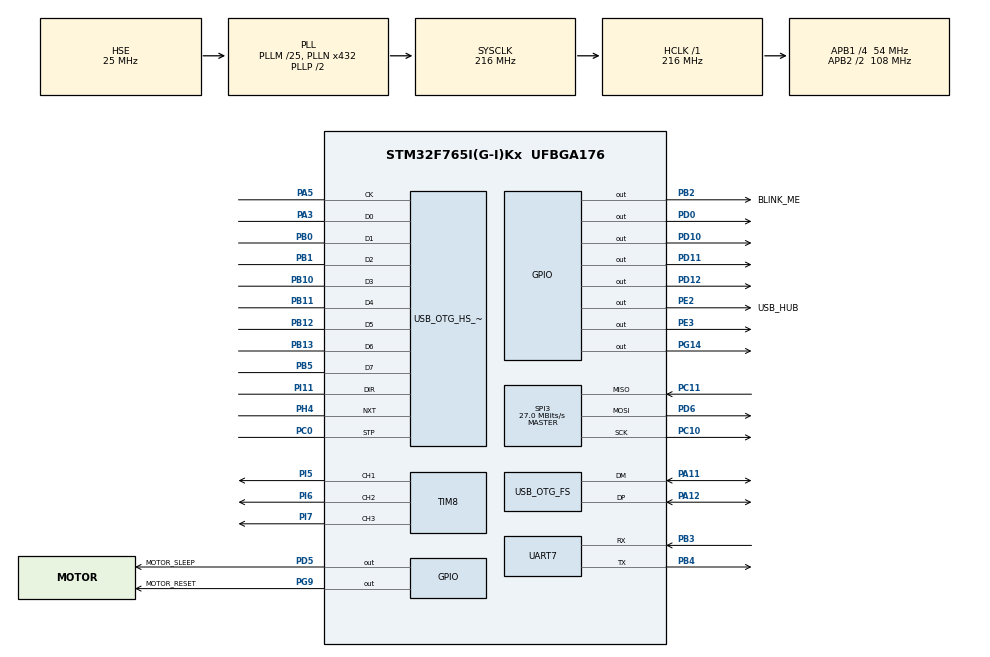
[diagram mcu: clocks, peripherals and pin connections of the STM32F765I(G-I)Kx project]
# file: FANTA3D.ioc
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CORTEX_M7.default_mode_Activation=1
Mcu.Family=STM32F7
Mcu.Name=STM32F765I(G-I)Kx
Mcu.Package=UFBGA176
NVIC.OTG_FS_IRQn=true\:0\:0\:false\:false\:true\:false\:true\:true
NVIC.PriorityGroup=NVIC_PRIORITYGROUP_4
PA11.Mode=Device_Only
PA11.Signal=USB_OTG_FS_DM
PA12.Mode=Device_Only
PA12.Signal=USB_OTG_FS_DP
PA3.Mode=OTG/Dual-Role-Device-HS
PA3.Signal=USB_OTG_HS_ULPI_D0
PA5.Mode=OTG/Dual-Role-Device-HS
PA5.Signal=USB_OTG_HS_ULPI_CK
PB0.Mode=OTG/Dual-Role-Device-HS
PB0.Signal=USB_OTG_HS_ULPI_D1
PB1.Mode=OTG/Dual-Role-Device-HS
PB1.Signal=USB_OTG_HS_ULPI_D2
PB10.Mode=OTG/Dual-Role-Device-HS
PB10.Signal=USB_OTG_HS_ULPI_D3
PB11.Mode=OTG/Dual-Role-Device-HS
PB11.Signal=USB_OTG_HS_ULPI_D4
PB12.Mode=OTG/Dual-Role-Device-HS
PB12.Signal=USB_OTG_HS_ULPI_D5
PB13.Mode=OTG/Dual-Role-Device-HS
PB13.Signal=USB_OTG_HS_ULPI_D6
PB2.GPIO_Label=BLINK_ME
PB2.Signal=GPIO_Output
PB3.Mode=Asynchronous
PB3.Signal=UART7_RX
PB4.Mode=Asynchronous
PB4.Signal=UART7_TX
PB5.Mode=OTG/Dual-Role-Device-HS
PB5.Signal=USB_OTG_HS_ULPI_D7
PC0.Mode=OTG/Dual-Role-Device-HS
PC0.Signal=USB_OTG_HS_ULPI_STP
PC10.Mode=Full_Duplex_Master
PC10.Signal=SPI3_SCK
PC11.GPIO_PuPd=GPIO_PULLUP
PC11.Mode=Full_Duplex_Master
PC11.Signal=SPI3_MISO
PD0.Signal=GPIO_Output
PD10.Signal=GPIO_Output
PD11.Signal=GPIO_Output
PD12.Signal=GPIO_Output
PD5.GPIO_Label=MOTOR_SLEEP
PD5.Signal=GPIO_Output
PD6.Mode=Full_Duplex_Master
PD6.Signal=SPI3_MOSI
PE2.GPIO_Label=USB_HUB
PE2.Signal=GPIO_Output
PE3.Signal=GPIO_Output
PG14.Signal=GPIO_Output
PG9.GPIO_Label=MOTOR_RESET
PG9.Signal=GPIO_Output
PH0/OSC_IN.Mode=HSE-External-Oscillator
PH0/OSC_IN.Signal=RCC_OSC_IN
PH1/OSC_OUT.Mode=HSE-External-Oscillator
PH1/OSC_OUT.Signal=RCC_OSC_OUT
PH4.Mode=OTG/Dual-Role-Device-HS
PH4.Signal=USB_OTG_HS_ULPI_NXT
PI11.Mode=OTG/Dual-Role-Device-HS
PI11.Signal=USB_OTG_HS_ULPI_DIR
PI5.Signal=S_TIM8_CH1
PI6.Signal=S_TIM8_CH2
PI7.Signal=S_TIM8_CH3
ProjectManager.HeapSize=0x600
ProjectManager.StackSize=0x400
ProjectManager.TargetToolchain=Makefile
RCC.AHBFreq_Value=216000000
RCC.APB1CLKDivider=RCC_HCLK_DIV4
RCC.APB1Freq_Value=54000000
RCC.APB1TimFreq_Value=108000000
RCC.APB2CLKDivider=RCC_HCLK_DIV2
RCC.APB2Freq_Value=108000000
RCC.APB2TimFreq_Value=216000000
RCC.CortexFreq_Value=216000000
RCC.HCLKFreq_Value=216000000
RCC.HSE_VALUE=25000000
RCC.HSI_VALUE=16000000
RCC.LSE_VALUE=32768
RCC.PLLM=25
RCC.PLLN=432
RCC.PLLQ=9
RCC.SYSCLKFreq_VALUE=216000000
RCC.SYSCLKSource=RCC_SYSCLKSOURCE_PLLCLK
RCC.USBFreq_Value=48000000
RCC.VCOOutputFreq_Value=432000000
SH.S_TIM8_CH1.0=TIM8_CH1,PWM Generation1 CH1
SH.S_TIM8_CH2.0=TIM8_CH2,PWM Generation2 CH2
SH.S_TIM8_CH3.0=TIM8_CH3,PWM Generation3 CH3
SPI3.CLKPhase=SPI_PHASE_2EDGE
SPI3.CalculateBaudRate=27.0 MBits/s
SPI3.DataSize=SPI_DATASIZE_16BIT
SPI3.Direction=SPI_DIRECTION_2LINES
SPI3.Mode=SPI_MODE_MASTER
SPI3.VirtualType=VM_MASTER
TIM8.AutoReloadPreload=TIM_AUTORELOAD_PRELOAD_ENABLE
TIM8.Channel-PWM\ Generation1\ CH1=TIM_CHANNEL_1
TIM8.Channel-PWM\ Generation2\ CH2=TIM_CHANNEL_2
TIM8.Channel-PWM\ Generation3\ CH3=TIM_CHANNEL_3
TIM8.Pulse-PWM\ Generation1\ CH1=65000
TIM8.Pulse-PWM\ Generation2\ CH2=65000
TIM8.Pulse-PWM\ Generation3\ CH3=65000
USB_DEVICE.CLASS_NAME_FS=CDC
USB_DEVICE.MANUFACTURER_STRING-CDC_FS=Migaud Corp
USB_DEVICE.PRODUCT_STRING_CDC_FS=FANTA 3D
USB_DEVICE.VirtualMode-CDC_FS=Cdc
USB_DEVICE.VirtualModeFS=Cdc_FS
USB_OTG_FS.VirtualMode=Device_Only
VP_USB_DEVICE_VS_USB_DEVICE_CDC_FS.Mode=CDC_FS
board=custom

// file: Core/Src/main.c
/* USER CODE BEGIN Header */
/**
  ******************************************************************************
  * @file           : main.c
  * @brief          : Main program body
  ******************************************************************************
  * @attention
  *
  * Copyright (c) 2022 STMicroelectronics.
  * All rights reserved.
  *
  * This software is licensed under terms that can be found in the LICENSE file
  * in the root directory of this software component.
  * If no LICENSE file comes with this software, it is provided AS-IS.
  *
  ******************************************************************************
  */
/* USER CODE END Header */
#include "main.h"
#include "usb_device.h"

/* USER CODE BEGIN Includes */
#include "usbd_cdc_if.h"

/* USER CODE END Includes */

/* USER CODE BEGIN PTD */
#define __AS5048A2_CS_ENABLE() HAL_GPIO_WritePin(GPIOD, GPIO_PIN_0, GPIO_PIN_RESET)
#define __AS5048A2_CS_DISABLE() HAL_GPIO_WritePin(GPIOD, GPIO_PIN_0, GPIO_PIN_SET)

#define __Read_NOP 0xc000
#define __Read_Clear_Error_Flag 0x4001
#define __Read_Angle 0xffff
/* USER CODE END PTD */

SPI_HandleTypeDef hspi3;

TIM_HandleTypeDef htim8;

UART_HandleTypeDef huart7;

void SystemClock_Config(void);
static void MPU_Config(void);
static void MX_GPIO_Init(void);
static void MX_TIM8_Init(void);
static void MX_UART7_Init(void);
static void MX_USB_OTG_HS_USB_Init(void);
static void MX_SPI3_Init(void);
/* USER CODE BEGIN PFP */

#define __Read_NOP 0xc000
#define __Read_Clear_Error_Flag 0x4001
#define __Read_Angle 0xffff

  uint16_t SPI_TX_DATA[10]={0};
uint16_t SPI_RX_DATA[10]={0};

const uint8_t op_num = 4;
uint16_t origin_value = 0;
uint8_t i;

uint8_t TXD[4]={0};
uint16_t post_process_value=0;

/* USER CODE END PFP */

int main(void)
{

  /* MPU Configuration--------------------------------------------------------*/
  MPU_Config();

  /* MCU Configuration--------------------------------------------------------*/

  /* Reset of all peripherals, Initializes the Flash interface and the Systick. */
  HAL_Init();

  /* Configure the system clock */
  SystemClock_Config();

  /* Initialize all configured peripherals */
  MX_GPIO_Init();
  MX_TIM8_Init();
  MX_UART7_Init();
  MX_USB_OTG_HS_USB_Init();
  MX_USB_DEVICE_Init();
  MX_SPI3_Init();
  /* USER CODE BEGIN 2 */

  HAL_TIM_Base_Start_IT(&htim8);

  HAL_TIM_PWM_Start(&htim8,TIM_CHANNEL_1);
  HAL_TIM_PWM_Start(&htim8,TIM_CHANNEL_2);
  HAL_TIM_PWM_Start(&htim8,TIM_CHANNEL_3);

  __HAL_TIM_SET_COMPARE(&htim8,TIM_CHANNEL_1,35000);
  __HAL_TIM_SET_COMPARE(&htim8,TIM_CHANNEL_2,35000);
  __HAL_TIM_SET_COMPARE(&htim8,TIM_CHANNEL_3,35000);

  HAL_GPIO_WritePin(GPIOD, GPIO_PIN_10, GPIO_PIN_RESET);
  HAL_GPIO_WritePin(GPIOD, GPIO_PIN_11, GPIO_PIN_RESET);
  HAL_GPIO_WritePin(GPIOD, GPIO_PIN_12, GPIO_PIN_RESET);

  HAL_GPIO_WritePin(GPIOG, GPIO_PIN_9, GPIO_PIN_SET);//motor reset
  HAL_GPIO_WritePin(GPIOD, GPIO_PIN_5, GPIO_PIN_SET);//motor reset
  HAL_Delay (10);

  HAL_GPIO_WritePin(GPIOE, GPIO_PIN_2, GPIO_PIN_SET);//hub reset
  HAL_GPIO_WritePin(GPIOE, GPIO_PIN_3, GPIO_PIN_SET);//hub reset
  HAL_GPIO_WritePin(GPIOG, GPIO_PIN_14, GPIO_PIN_RESET);//switch select

  HAL_GPIO_WritePin(GPIOD, GPIO_PIN_0, GPIO_PIN_SET);//CS encoder

  HAL_Delay (1000);

  HAL_UART_Transmit(&huart7, (uint8_t *) "hello", sizeof("hello"), 100);

  uint8_t buffer[] = "Hello, World!\r\n";
  CDC_Transmit_FS(buffer, sizeof(buffer));
  HAL_Delay(1000);

  uint16_t SPI_TX_DATA[10]={0};
  uint16_t SPI_RX_DATA[10]={0};

  const uint8_t op_num = 4;
  uint16_t origin_value = 0;
  uint8_t i;

  uint8_t TXD[4]={0};
  uint16_t post_process_value=0;

  TXD[0]=0x55; TXD[1]=0xaa;//frame head

		  SPI_TX_DATA[0] =  __Read_Clear_Error_Flag;
		  SPI_TX_DATA[1] =  __Read_NOP;
		  SPI_TX_DATA[2] =  __Read_Angle;
		  SPI_TX_DATA[3] =  __Read_NOP;

		  for (i = 0; i<op_num; i++)
		    {
			  __AS5048A2_CS_ENABLE();
		      HAL_SPI_TransmitReceive (&hspi3, &SPI_TX_DATA[i], &SPI_RX_DATA[i], 1, 2710);
		      __AS5048A2_CS_DISABLE();
		      HAL_Delay(1);
		    }

		  origin_value = SPI_RX_DATA[3]&0x3fff;

  /* USER CODE END 2 */

  /* Infinite loop */
  while (1)
  {

    /* USER CODE BEGIN 3 */
    HAL_GPIO_TogglePin (GPIOB, GPIO_PIN_2);

    //uint8_t val = 0xFF;
    //uint8_t val1 = 0;
    //uint8_t val2 = 0;
    //uint16_t test;
    //HAL_GPIO_WritePin(GPIOD, GPIO_PIN_0, GPIO_PIN_RESET);
    //HAL_SPI_Transmit(&hspi3, (uint8_t *)&val, 1, 10);
    //HAL_GPIO_WritePin(GPIOD, GPIO_PIN_0, GPIO_PIN_SET);

    //HAL_GPIO_WritePin(GPIOD, GPIO_PIN_0, GPIO_PIN_RESET);
    //HAL_SPI_Transmit(&hspi3, (uint8_t *)&val, 1, 10);
    //HAL_GPIO_WritePin(GPIOD, GPIO_PIN_0, GPIO_PIN_SET);

    //for (int i = 0; i < 100; i++)
    //{
		//__ASM volatile ("NOP");
		//__ASM volatile ("NOP");
	//}

    //HAL_GPIO_WritePin(GPIOD, GPIO_PIN_0, GPIO_PIN_RESET);
    //HAL_SPI_Receive(&hspi3, (uint8_t *)&val1, 1, 10);
    //HAL_GPIO_WritePin(GPIOD, GPIO_PIN_0, GPIO_PIN_SET);

    //HAL_GPIO_WritePin(GPIOD, GPIO_PIN_0, GPIO_PIN_RESET);
    //HAL_SPI_Receive(&hspi3, (uint8_t *)&val2, 1, 10);
    //HAL_GPIO_WritePin(GPIOD, GPIO_PIN_0, GPIO_PIN_SET);

    //test = val1 << 8 | val2;
    //test &= 0x3FFF;

    //char str[10];
    //sprintf(str, "%d \r\n", test);
    ////HAL_UART_Transmit(&huart7, (uint8_t*)str, sizeof(str), 100);
    //HAL_Delay(1);
 	//CDC_Transmit_FS((uint8_t *)str, sizeof(str));
 	//HAL_Delay(1);
 	//CDC_Transmit_FS(buffer, sizeof(buffer));
 	//HAL_Delay(1);

    for (i = 0; i<op_num; i++)
     {
	  __AS5048A2_CS_ENABLE();
      HAL_SPI_TransmitReceive (&hspi3, &SPI_TX_DATA[i], &SPI_RX_DATA[i], 1, 2710);
      __AS5048A2_CS_DISABLE();
      HAL_Delay(1);
     }

 	if ( (SPI_RX_DATA[3]&0x3fff)>=origin_value ) post_process_value= (SPI_RX_DATA[3]&0x3fff)-origin_value;
 	else post_process_value= 16384-origin_value+(SPI_RX_DATA[3]&0x3fff);

 	TXD[2] = (post_process_value&0xff00)>>8;
 	TXD[3]= post_process_value&0x00ff;

 	HAL_UART_Transmit(&huart7, TXD, 4, 0xffff);
 	HAL_Delay(1);
 	char str[10];
    sprintf(str, "%d \r\n", post_process_value);
 	CDC_Transmit_FS(str, sizeof(str));
 	HAL_Delay(1);
 	sprintf(str, "%d \r\n", origin_value);
 	CDC_Transmit_FS(str, sizeof(str));
 	HAL_Delay(1);
 	CDC_Transmit_FS(buffer, sizeof(buffer));

    //HAL_Delay (300);   /* Insert delay 100 ms */

    HAL_GPIO_WritePin(GPIOD, GPIO_PIN_10, GPIO_PIN_RESET);
    HAL_GPIO_WritePin(GPIOD, GPIO_PIN_11, GPIO_PIN_SET);
    HAL_GPIO_WritePin(GPIOD, GPIO_PIN_12, GPIO_PIN_SET);
    __HAL_TIM_SET_COMPARE(&htim8,TIM_CHANNEL_1,0);
    __HAL_TIM_SET_COMPARE(&htim8,TIM_CHANNEL_2,35000);
    __HAL_TIM_SET_COMPARE(&htim8,TIM_CHANNEL_3,0);
    HAL_Delay (100);
    HAL_GPIO_WritePin(GPIOD, GPIO_PIN_10, GPIO_PIN_SET);
    HAL_GPIO_WritePin(GPIOD, GPIO_PIN_11, GPIO_PIN_RESET);
    HAL_GPIO_WritePin(GPIOD, GPIO_PIN_12, GPIO_PIN_SET);
    __HAL_TIM_SET_COMPARE(&htim8,TIM_CHANNEL_1,35000);
    __HAL_TIM_SET_COMPARE(&htim8,TIM_CHANNEL_2,0);
    __HAL_TIM_SET_COMPARE(&htim8,TIM_CHANNEL_3,0);
    HAL_Delay (100);
    HAL_GPIO_WritePin(GPIOD, GPIO_PIN_10, GPIO_PIN_SET);
    HAL_GPIO_WritePin(GPIOD, GPIO_PIN_11, GPIO_PIN_SET);
    HAL_GPIO_WritePin(GPIOD, GPIO_PIN_12, GPIO_PIN_RESET);
    __HAL_TIM_SET_COMPARE(&htim8,TIM_CHANNEL_1,35000);
    __HAL_TIM_SET_COMPARE(&htim8,TIM_CHANNEL_2,0);
    __HAL_TIM_SET_COMPARE(&htim8,TIM_CHANNEL_3,0);
    HAL_Delay (100);
    HAL_GPIO_WritePin(GPIOD, GPIO_PIN_10, GPIO_PIN_RESET);
    HAL_GPIO_WritePin(GPIOD, GPIO_PIN_11, GPIO_PIN_SET);
    HAL_GPIO_WritePin(GPIOD, GPIO_PIN_12, GPIO_PIN_SET);
    __HAL_TIM_SET_COMPARE(&htim8,TIM_CHANNEL_1,0);
    __HAL_TIM_SET_COMPARE(&htim8,TIM_CHANNEL_2,0);
    __HAL_TIM_SET_COMPARE(&htim8,TIM_CHANNEL_3,35000);
    HAL_Delay (100);
    HAL_GPIO_WritePin(GPIOD, GPIO_PIN_10, GPIO_PIN_SET);
    HAL_GPIO_WritePin(GPIOD, GPIO_PIN_11, GPIO_PIN_RESET);
    HAL_GPIO_WritePin(GPIOD, GPIO_PIN_12, GPIO_PIN_SET);
    __HAL_TIM_SET_COMPARE(&htim8,TIM_CHANNEL_1,0);
    __HAL_TIM_SET_COMPARE(&htim8,TIM_CHANNEL_2,0);
    __HAL_TIM_SET_COMPARE(&htim8,TIM_CHANNEL_3,35000);
    HAL_Delay (100);
    HAL_GPIO_WritePin(GPIOD, GPIO_PIN_10, GPIO_PIN_SET);
    HAL_GPIO_WritePin(GPIOD, GPIO_PIN_11, GPIO_PIN_SET);
    HAL_GPIO_WritePin(GPIOD, GPIO_PIN_12, GPIO_PIN_RESET);
    __HAL_TIM_SET_COMPARE(&htim8,TIM_CHANNEL_1,0);
    __HAL_TIM_SET_COMPARE(&htim8,TIM_CHANNEL_2,35000);
    __HAL_TIM_SET_COMPARE(&htim8,TIM_CHANNEL_3,0);
    HAL_Delay (100);

  }
  /* USER CODE END 3 */
}

void SystemClock_Config(void)
{
  RCC_OscInitTypeDef RCC_OscInitStruct = {0};
  RCC_ClkInitTypeDef RCC_ClkInitStruct = {0};

  /** Configure the main internal regulator output voltage
  */
  __HAL_RCC_PWR_CLK_ENABLE();
  __HAL_PWR_VOLTAGESCALING_CONFIG(PWR_REGULATOR_VOLTAGE_SCALE1);

  /** Initializes the RCC Oscillators according to the specified parameters
  * in the RCC_OscInitTypeDef structure.
  */
  RCC_OscInitStruct.OscillatorType = RCC_OSCILLATORTYPE_HSE;
  RCC_OscInitStruct.HSEState = RCC_HSE_ON;
  RCC_OscInitStruct.PLL.PLLState = RCC_PLL_ON;
  RCC_OscInitStruct.PLL.PLLSource = RCC_PLLSOURCE_HSE;
  RCC_OscInitStruct.PLL.PLLM = 25;
  RCC_OscInitStruct.PLL.PLLN = 432;
  RCC_OscInitStruct.PLL.PLLP = RCC_PLLP_DIV2;
  RCC_OscInitStruct.PLL.PLLQ = 9;
  RCC_OscInitStruct.PLL.PLLR = 2;
  if (HAL_RCC_OscConfig(&RCC_OscInitStruct) != HAL_OK)
  {
    Error_Handler();
  }

  /** Activate the Over-Drive mode
  */
  if (HAL_PWREx_EnableOverDrive() != HAL_OK)
  {
    Error_Handler();
  }

  /** Initializes the CPU, AHB and APB buses clocks
  */
  RCC_ClkInitStruct.ClockType = RCC_CLOCKTYPE_HCLK|RCC_CLOCKTYPE_SYSCLK
                              |RCC_CLOCKTYPE_PCLK1|RCC_CLOCKTYPE_PCLK2;
  RCC_ClkInitStruct.SYSCLKSource = RCC_SYSCLKSOURCE_PLLCLK;
  RCC_ClkInitStruct.AHBCLKDivider = RCC_SYSCLK_DIV1;
  RCC_ClkInitStruct.APB1CLKDivider = RCC_HCLK_DIV4;
  RCC_ClkInitStruct.APB2CLKDivider = RCC_HCLK_DIV2;

  if (HAL_RCC_ClockConfig(&RCC_ClkInitStruct, FLASH_LATENCY_7) != HAL_OK)
  {
    Error_Handler();
  }
}

static void MX_SPI3_Init(void)
{

  /* SPI3 parameter configuration*/
  hspi3.Instance = SPI3;
  hspi3.Init.Mode = SPI_MODE_MASTER;
  hspi3.Init.Direction = SPI_DIRECTION_2LINES;
  hspi3.Init.DataSize = SPI_DATASIZE_16BIT;
  hspi3.Init.CLKPolarity = SPI_POLARITY_LOW;
  hspi3.Init.CLKPhase = SPI_PHASE_2EDGE;
  hspi3.Init.NSS = SPI_NSS_SOFT;
  hspi3.Init.BaudRatePrescaler = SPI_BAUDRATEPRESCALER_2;
  hspi3.Init.FirstBit = SPI_FIRSTBIT_MSB;
  hspi3.Init.TIMode = SPI_TIMODE_DISABLE;
  hspi3.Init.CRCCalculation = SPI_CRCCALCULATION_DISABLE;
  hspi3.Init.CRCPolynomial = 7;
  hspi3.Init.CRCLength = SPI_CRC_LENGTH_DATASIZE;
  hspi3.Init.NSSPMode = SPI_NSS_PULSE_DISABLE;
  if (HAL_SPI_Init(&hspi3) != HAL_OK)
  {
    Error_Handler();
  }

}

static void MX_TIM8_Init(void)
{

  TIM_MasterConfigTypeDef sMasterConfig = {0};
  TIM_OC_InitTypeDef sConfigOC = {0};
  TIM_BreakDeadTimeConfigTypeDef sBreakDeadTimeConfig = {0};

  htim8.Instance = TIM8;
  htim8.Init.Prescaler = 0;
  htim8.Init.CounterMode = TIM_COUNTERMODE_UP;
  htim8.Init.Period = 65535;
  htim8.Init.ClockDivision = TIM_CLOCKDIVISION_DIV1;
  htim8.Init.RepetitionCounter = 0;
  htim8.Init.AutoReloadPreload = TIM_AUTORELOAD_PRELOAD_ENABLE;
  if (HAL_TIM_PWM_Init(&htim8) != HAL_OK)
  {
    Error_Handler();
  }
  sMasterConfig.MasterOutputTrigger = TIM_TRGO_RESET;
  sMasterConfig.MasterOutputTrigger2 = TIM_TRGO2_RESET;
  sMasterConfig.MasterSlaveMode = TIM_MASTERSLAVEMODE_DISABLE;
  if (HAL_TIMEx_MasterConfigSynchronization(&htim8, &sMasterConfig) != HAL_OK)
  {
    Error_Handler();
  }
  sConfigOC.OCMode = TIM_OCMODE_PWM1;
  sConfigOC.Pulse = 65000;
  sConfigOC.OCPolarity = TIM_OCPOLARITY_HIGH;
  sConfigOC.OCNPolarity = TIM_OCNPOLARITY_HIGH;
  sConfigOC.OCFastMode = TIM_OCFAST_DISABLE;
  sConfigOC.OCIdleState = TIM_OCIDLESTATE_RESET;
  sConfigOC.OCNIdleState = TIM_OCNIDLESTATE_RESET;
  if (HAL_TIM_PWM_ConfigChannel(&htim8, &sConfigOC, TIM_CHANNEL_1) != HAL_OK)
  {
    Error_Handler();
  }
  if (HAL_TIM_PWM_ConfigChannel(&htim8, &sConfigOC, TIM_CHANNEL_2) != HAL_OK)
  {
    Error_Handler();
  }
  if (HAL_TIM_PWM_ConfigChannel(&htim8, &sConfigOC, TIM_CHANNEL_3) != HAL_OK)
  {
    Error_Handler();
  }
  sBreakDeadTimeConfig.OffStateRunMode = TIM_OSSR_DISABLE;
  sBreakDeadTimeConfig.OffStateIDLEMode = TIM_OSSI_DISABLE;
  sBreakDeadTimeConfig.LockLevel = TIM_LOCKLEVEL_OFF;
  sBreakDeadTimeConfig.DeadTime = 0;
  sBreakDeadTimeConfig.BreakState = TIM_BREAK_DISABLE;
  sBreakDeadTimeConfig.BreakPolarity = TIM_BREAKPOLARITY_HIGH;
  sBreakDeadTimeConfig.BreakFilter = 0;
  sBreakDeadTimeConfig.Break2State = TIM_BREAK2_DISABLE;
  sBreakDeadTimeConfig.Break2Polarity = TIM_BREAK2POLARITY_HIGH;
  sBreakDeadTimeConfig.Break2Filter = 0;
  sBreakDeadTimeConfig.AutomaticOutput = TIM_AUTOMATICOUTPUT_DISABLE;
  if (HAL_TIMEx_ConfigBreakDeadTime(&htim8, &sBreakDeadTimeConfig) != HAL_OK)
  {
    Error_Handler();
  }
  HAL_TIM_MspPostInit(&htim8);

}

static void MX_UART7_Init(void)
{

  huart7.Instance = UART7;
  huart7.Init.BaudRate = 115200;
  huart7.Init.WordLength = UART_WORDLENGTH_8B;
  huart7.Init.StopBits = UART_STOPBITS_1;
  huart7.Init.Parity = UART_PARITY_NONE;
  huart7.Init.Mode = UART_MODE_TX_RX;
  huart7.Init.HwFlowCtl = UART_HWCONTROL_NONE;
  huart7.Init.OverSampling = UART_OVERSAMPLING_16;
  huart7.Init.OneBitSampling = UART_ONE_BIT_SAMPLE_DISABLE;
  huart7.AdvancedInit.AdvFeatureInit = UART_ADVFEATURE_NO_INIT;
  if (HAL_UART_Init(&huart7) != HAL_OK)
  {
    Error_Handler();
  }

}

static void MX_USB_OTG_HS_USB_Init(void)
{

}

static void MX_GPIO_Init(void)
{
  GPIO_InitTypeDef GPIO_InitStruct = {0};

  /* GPIO Ports Clock Enable */
  __HAL_RCC_GPIOE_CLK_ENABLE();
  __HAL_RCC_GPIOB_CLK_ENABLE();
  __HAL_RCC_GPIOG_CLK_ENABLE();
  __HAL_RCC_GPIOD_CLK_ENABLE();
  __HAL_RCC_GPIOC_CLK_ENABLE();
  __HAL_RCC_GPIOA_CLK_ENABLE();
  __HAL_RCC_GPIOI_CLK_ENABLE();
  __HAL_RCC_GPIOH_CLK_ENABLE();

  /*Configure GPIO pin Output Level */
  HAL_GPIO_WritePin(GPIOE, GPIO_PIN_3|USB_HUB_Pin, GPIO_PIN_RESET);

  /*Configure GPIO pin Output Level */
  HAL_GPIO_WritePin(GPIOG, GPIO_PIN_14|MOTOR_RESET_Pin, GPIO_PIN_RESET);

  /*Configure GPIO pin Output Level */
  HAL_GPIO_WritePin(GPIOD, GPIO_PIN_0|MOTOR_SLEEP_Pin|GPIO_PIN_12|GPIO_PIN_11
                          |GPIO_PIN_10, GPIO_PIN_RESET);

  /*Configure GPIO pin Output Level */
  HAL_GPIO_WritePin(BLINK_ME_GPIO_Port, BLINK_ME_Pin, GPIO_PIN_RESET);

  /*Configure GPIO pins : PE3 USB_HUB_Pin */
  GPIO_InitStruct.Pin = GPIO_PIN_3|USB_HUB_Pin;
  GPIO_InitStruct.Mode = GPIO_MODE_OUTPUT_PP;
  GPIO_InitStruct.Pull = GPIO_NOPULL;
  GPIO_InitStruct.Speed = GPIO_SPEED_FREQ_LOW;
  HAL_GPIO_Init(GPIOE, &GPIO_InitStruct);

  /*Configure GPIO pins : PB5 PB12 PB13 PB1
                           PB0 PB10 PB11 */
  GPIO_InitStruct.Pin = GPIO_PIN_5|GPIO_PIN_12|GPIO_PIN_13|GPIO_PIN_1
                          |GPIO_PIN_0|GPIO_PIN_10|GPIO_PIN_11;
  GPIO_InitStruct.Mode = GPIO_MODE_AF_PP;
  GPIO_InitStruct.Pull = GPIO_NOPULL;
  GPIO_InitStruct.Speed = GPIO_SPEED_FREQ_VERY_HIGH;
  GPIO_InitStruct.Alternate = GPIO_AF10_OTG_HS;
  HAL_GPIO_Init(GPIOB, &GPIO_InitStruct);

  /*Configure GPIO pins : PG14 MOTOR_RESET_Pin */
  GPIO_InitStruct.Pin = GPIO_PIN_14|MOTOR_RESET_Pin;
  GPIO_InitStruct.Mode = GPIO_MODE_OUTPUT_PP;
  GPIO_InitStruct.Pull = GPIO_NOPULL;
  GPIO_InitStruct.Speed = GPIO_SPEED_FREQ_LOW;
  HAL_GPIO_Init(GPIOG, &GPIO_InitStruct);

  /*Configure GPIO pins : PD0 MOTOR_SLEEP_Pin PD12 PD11
                           PD10 */
  GPIO_InitStruct.Pin = GPIO_PIN_0|MOTOR_SLEEP_Pin|GPIO_PIN_12|GPIO_PIN_11
                          |GPIO_PIN_10;
  GPIO_InitStruct.Mode = GPIO_MODE_OUTPUT_PP;
  GPIO_InitStruct.Pull = GPIO_NOPULL;
  GPIO_InitStruct.Speed = GPIO_SPEED_FREQ_LOW;
  HAL_GPIO_Init(GPIOD, &GPIO_InitStruct);

  /*Configure GPIO pin : PI11 */
  GPIO_InitStruct.Pin = GPIO_PIN_11;
  GPIO_InitStruct.Mode = GPIO_MODE_AF_PP;
  GPIO_InitStruct.Pull = GPIO_NOPULL;
  GPIO_InitStruct.Speed = GPIO_SPEED_FREQ_VERY_HIGH;
  GPIO_InitStruct.Alternate = GPIO_AF10_OTG_HS;
  HAL_GPIO_Init(GPIOI, &GPIO_InitStruct);

  /*Configure GPIO pin : PH4 */
  GPIO_InitStruct.Pin = GPIO_PIN_4;
  GPIO_InitStruct.Mode = GPIO_MODE_AF_PP;
  GPIO_InitStruct.Pull = GPIO_NOPULL;
  GPIO_InitStruct.Speed = GPIO_SPEED_FREQ_VERY_HIGH;
  GPIO_InitStruct.Alternate = GPIO_AF10_OTG_HS;
  HAL_GPIO_Init(GPIOH, &GPIO_InitStruct);

  /*Configure GPIO pin : PC0 */
  GPIO_InitStruct.Pin = GPIO_PIN_0;
  GPIO_InitStruct.Mode = GPIO_MODE_AF_PP;
  GPIO_InitStruct.Pull = GPIO_NOPULL;
  GPIO_InitStruct.Speed = GPIO_SPEED_FREQ_VERY_HIGH;
  GPIO_InitStruct.Alternate = GPIO_AF10_OTG_HS;
  HAL_GPIO_Init(GPIOC, &GPIO_InitStruct);

  /*Configure GPIO pin : BLINK_ME_Pin */
  GPIO_InitStruct.Pin = BLINK_ME_Pin;
  GPIO_InitStruct.Mode = GPIO_MODE_OUTPUT_PP;
  GPIO_InitStruct.Pull = GPIO_NOPULL;
  GPIO_InitStruct.Speed = GPIO_SPEED_FREQ_LOW;
  HAL_GPIO_Init(BLINK_ME_GPIO_Port, &GPIO_InitStruct);

  /*Configure GPIO pins : PA5 PA3 */
  GPIO_InitStruct.Pin = GPIO_PIN_5|GPIO_PIN_3;
  GPIO_InitStruct.Mode = GPIO_MODE_AF_PP;
  GPIO_InitStruct.Pull = GPIO_NOPULL;
  GPIO_InitStruct.Speed = GPIO_SPEED_FREQ_VERY_HIGH;
  GPIO_InitStruct.Alternate = GPIO_AF10_OTG_HS;
  HAL_GPIO_Init(GPIOA, &GPIO_InitStruct);

}

/* MPU Configuration */

void MPU_Config(void)
{
  MPU_Region_InitTypeDef MPU_InitStruct = {0};

  /* Disables the MPU */
  HAL_MPU_Disable();

  /** Initializes and configures the Region and the memory to be protected
  */
  MPU_InitStruct.Enable = MPU_REGION_ENABLE;
  MPU_InitStruct.Number = MPU_REGION_NUMBER0;
  MPU_InitStruct.BaseAddress = 0x0;
  MPU_InitStruct.Size = MPU_REGION_SIZE_4GB;
  MPU_InitStruct.SubRegionDisable = 0x87;
  MPU_InitStruct.TypeExtField = MPU_TEX_LEVEL0;
  MPU_InitStruct.AccessPermission = MPU_REGION_NO_ACCESS;
  MPU_InitStruct.DisableExec = MPU_INSTRUCTION_ACCESS_DISABLE;
  MPU_InitStruct.IsShareable = MPU_ACCESS_SHAREABLE;
  MPU_InitStruct.IsCacheable = MPU_ACCESS_NOT_CACHEABLE;
  MPU_InitStruct.IsBufferable = MPU_ACCESS_NOT_BUFFERABLE;

  HAL_MPU_ConfigRegion(&MPU_InitStruct);
  /* Enables the MPU */
  HAL_MPU_Enable(MPU_PRIVILEGED_DEFAULT);

}

void Error_Handler(void)
{
  __disable_irq();
  while (1)
  {
  }
}
